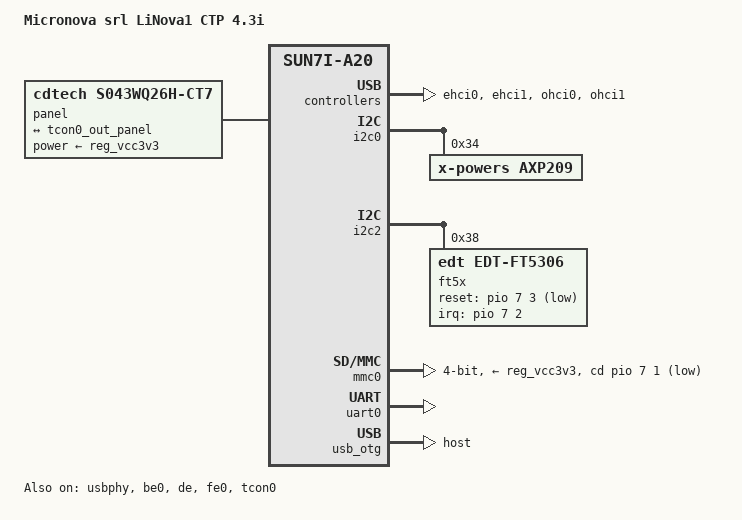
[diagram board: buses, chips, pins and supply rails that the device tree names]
/*
 * This is based on sun7i-a20-linova1-ctp-4_3i.dts
 *
 * Copyright 2014 - Hans de Goede <hdegoede@redhat.com>
 * Copyright (c) 2014 FUKAUMI Naoki <naobsd@gmail.com>
 *
 * This file is dual-licensed: you can use it either under the terms
 * of the GPL or the X11 license, at your option. Note that this dual
 * licensing only applies to this file, and not this project as a
 * whole.
 *
 *  a) This file is free software; you can redistribute it and/or
 *     modify it under the terms of the GNU General Public License as
 *     published by the Free Software Foundation; either version 2 of the
 *     License, or (at your option) any later version.
 *
 *     This file is distributed in the hope that it will be useful,
 *     but WITHOUT ANY WARRANTY; without even the implied warranty of
 *     MERCHANTABILITY or FITNESS FOR A PARTICULAR PURPOSE.  See the
 *     GNU General Public License for more details.
 *
 * Or, alternatively,
 *
 *  b) Permission is hereby granted, free of charge, to any person
 *     obtaining a copy of this software and associated documentation
 *     files (the "Software"), to deal in the Software without
 *     restriction, including without limitation the rights to use,
 *     copy, modify, merge, publish, distribute, sublicense, and/or
 *     sell copies of the Software, and to permit persons to whom the
 *     Software is furnished to do so, subject to the following
 *     conditions:
 *
 *     The above copyright notice and this permission notice shall be
 *     included in all copies or substantial portions of the Software.
 *
 *     THE SOFTWARE IS PROVIDED "AS IS", WITHOUT WARRANTY OF ANY KIND,
 *     EXPRESS OR IMPLIED, INCLUDING BUT NOT LIMITED TO THE WARRANTIES
 *     OF MERCHANTABILITY, FITNESS FOR A PARTICULAR PURPOSE AND
 *     NONINFRINGEMENT. IN NO EVENT SHALL THE AUTHORS OR COPYRIGHT
 *     HOLDERS BE LIABLE FOR ANY CLAIM, DAMAGES OR OTHER LIABILITY,
 *     WHETHER IN AN ACTION OF CONTRACT, TORT OR OTHERWISE, ARISING
 *     FROM, OUT OF OR IN CONNECTION WITH THE SOFTWARE OR THE USE OR
 *     OTHER DEALINGS IN THE SOFTWARE.
 */

/dts-v1/;
#include "sun7i-a20.dtsi"
#include "sunxi-common-regulators.dtsi"

#include <dt-bindings/gpio/gpio.h>
#include <dt-bindings/interrupt-controller/irq.h>

/ {
	model = "Micronova srl LiNova1 CTP 4.3i";
	compatible = "micronova,a20-linova1-ctp-4_3i", "allwinner,sun7i-a20";

	aliases {
		serial0 = &uart0;
	};

	chosen {
		stdout-path = "serial0:115200n8";
	};

	panel: panel {
		compatible = "cdtech,s043wq26h-ct7", "simple-panel";
		power-supply = <&reg_vcc3v3>;
		#address-cells = <1>;
		#size-cells = <0>;

		port@0 {
			reg = <0>;
			#address-cells = <1>;
			#size-cells = <0>;

			panel_input: endpoint@0 {
				reg = <0>;
				remote-endpoint = <&tcon0_out_panel>;
			};
		};
	};

	reserved-memory {
		#address-cells = <1>;
		#size-cells = <1>;
		ranges;

		display_pool: cma {
			compatible = "shared-dma-pool";
			size = <0x8000000>;
			alignment = <0x2000>;
			reusable;
			linux,cma-default;
		};
	};
};

&ehci0 {
	status = "okay";
};

&ehci1 {
	status = "okay";
};

&i2c0 {
	pinctrl-names = "default";
	pinctrl-0 = <&i2c0_pins_a>;
	status = "okay";

	axp209: pmic@34 {
		compatible = "x-powers,axp209";
		reg = <0x34>;
		interrupt-parent = <&nmi_intc>;
		interrupts = <0 IRQ_TYPE_LEVEL_LOW>;

		interrupt-controller;
		#interrupt-cells = <1>;
	};
};

&i2c2 {
	pinctrl-names = "default";
	pinctrl-0 = <&i2c2_pins_a>;
	status = "okay";

	ft5x: touchscreen@38 {
		compatible = "edt,edt-ft5306";
		reg = <0x38>;
		interrupt-parent = <&pio>;
		interrupts = <7 2 IRQ_TYPE_EDGE_FALLING>; /* PH2 */
		reset-gpios = <&pio 7 3 GPIO_ACTIVE_LOW>; /* PH3 */
		touchscreen-size-x = <480>;
		touchscreen-size-y = <272>;
	};
};

&mmc0 {
	pinctrl-names = "default";
	pinctrl-0 = <&mmc0_pins_a>;
	vmmc-supply = <&reg_vcc3v3>;
	bus-width = <4>;
	cd-gpios = <&pio 7 1 GPIO_ACTIVE_HIGH>; /* PH1 */
	cd-inverted;
	status = "okay";
};

&ohci0 {
	status = "okay";
};

&ohci1 {
	status = "okay";
};

&otg_sram {
	status = "okay";
};

&reg_usb0_vbus {
	status = "okay";
};

&reg_usb1_vbus {
	status = "okay";
};

&uart0 {
	pinctrl-names = "default";
	pinctrl-0 = <&uart0_pins_a>;
	status = "okay";
};

&usb_otg {
	dr_mode = "host";
	status = "okay";
};

&usbphy {
	pinctrl-names = "default";
	usb0_vbus-supply = <&reg_usb0_vbus>;
	usb1_vbus-supply = <&reg_usb1_vbus>;
	status = "okay";
};

&be0 {
	status = "okay";
};

&de {
	status = "okay";
};

&fe0 {
	status = "okay";
};

&tcon0 {
	pinctrl-names = "default";
	pinctrl-0 = <&lcd_rgb888_pins>;
	status = "okay";
};

&tcon0_out {
	tcon0_out_panel: endpoint@0 {
		reg = <0>;
		remote-endpoint = <&panel_input>;
	};
};

&mali {
	memory-region = <&display_pool>;
};
